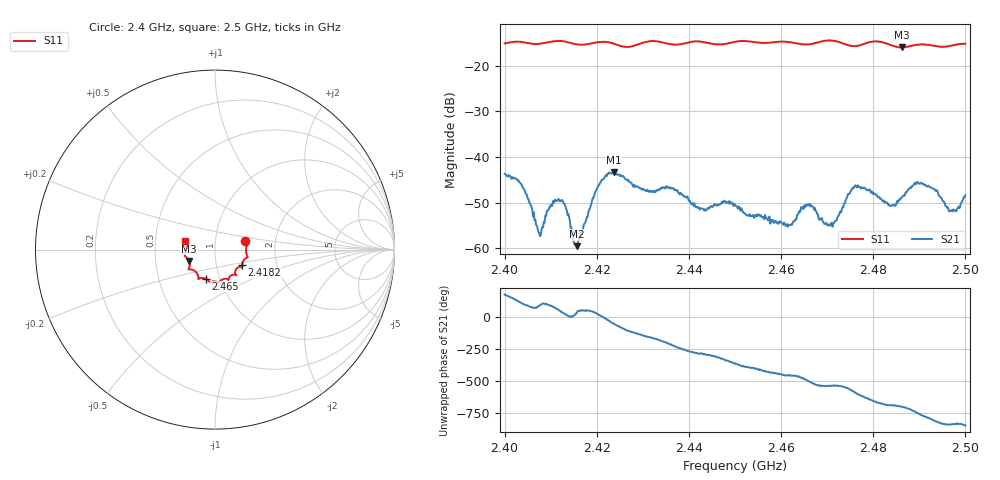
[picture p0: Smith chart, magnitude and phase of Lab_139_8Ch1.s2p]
# Hz S RI R 50
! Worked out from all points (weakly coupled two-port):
!   601 points, 2.4 GHz to 2.5 GHz, reference 50 ohm
!   highest |S21| = -43.36 dB at 2.4237 GHz (marker M1); lowest = -59.5 dB at 2.4157 GHz (marker M2)
!   lowest |S11| = -16.0 dB at 2.4862 GHz (marker M3), VSWR 1.38, Z = 37.1 - j4.81 ohm
!   |S11| at or under -10 dB: start of sweep to end of sweep
!   S12 and S22 are empty: the file has one direction only
!   S11 on the Smith chart (normalised r, x): 2.4 GHz: 1.40, +0.13; 2.4182 GHz: 1.33, -0.23; 2.465 GHz: 0.86, -0.29; 2.5 GHz: 0.71, +0.07
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2.4e9  0.1689 0.0457  -0.0065 0.000441  0 0  0 0
2.403833e9  0.1792 0.0279  -0.00133 0.00454  0 0  0 0
2.4075e9  0.1729 -0.00954  3e-06 0.00148  0 0  0 0
2.4105e9  0.1804 -0.0374  0.00061 0.00323  0 0  0 0
2.412667e9  0.18 -0.0438  0.00269 0.00181  0 0  0 0
2.415667e9  0.1608 -0.058  0.000889 0.000566  0 0  0 0
2.416667e9  0.1549 -0.0683  0.000967 0.00116  0 0  0 0
2.418167e9  0.15 -0.0851  0.00157 0.00194  0 0  0 0
2.420667e9  0.1512 -0.1001  0.00499 0.00124  0 0  0 0
2.423667e9  0.1448 -0.0967  0.0043 -0.00526  0 0  0 0
2.433333e9  0.1169 -0.1414  -0.00428 -0.00023  0 0  0 0
2.45e9  0.025 -0.1807  0.003 6.49e-05  0 0  0 0
2.4615e9  -0.0312 -0.1787  -0.000117 -0.00172  0 0  0 0
2.465e9  -0.0529 -0.1621  -0.00156 -0.00249  0 0  0 0
2.466667e9  -0.0713 -0.1575  -0.00257 -0.00133  0 0  0 0
2.471e9  -0.0923 -0.164  -0.0019 -0.000178  0 0  0 0
2.4765e9  -0.116 -0.1165  -0.00252 0.00386  0 0  0 0
2.483333e9  -0.142 -0.0959  0.00242 0.00167  0 0  0 0
2.486167e9  -0.1448 -0.0632  0.00329 0.00135  0 0  0 0
2.49e9  -0.1663 -0.0368  0.00427 -0.00277  0 0  0 0
2.496833e9  -0.1628 0.0258  -0.00106 -0.00234  0 0  0 0
2.5e9  -0.1669 0.0474  -0.00212 -0.00316  0 0  0 0
